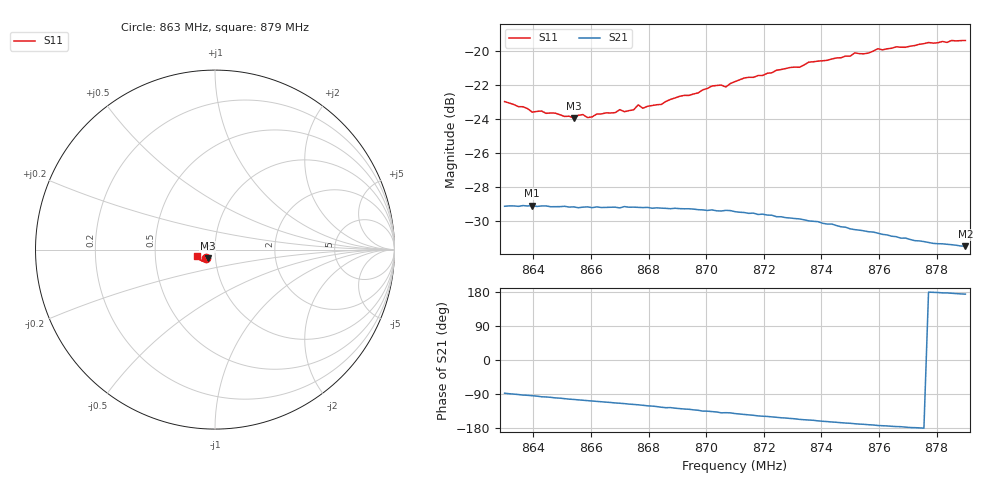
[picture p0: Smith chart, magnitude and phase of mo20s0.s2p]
# HZ S RI R 50
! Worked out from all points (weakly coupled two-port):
!   101 points, 863 MHz to 879 MHz, reference 50 ohm
!   highest |S21| = -29.08 dB at 863.96 MHz (marker M1); lowest = -31.5 dB at 879 MHz (marker M2)
!   lowest |S11| = -23.9 dB at 865.4 MHz (marker M3), VSWR 1.14, Z = 45.9 - j4.53 ohm
!   |S11| at or under -10 dB: start of sweep to end of sweep
!   S12 and S22 are empty: the file has one direction only
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8.63e8  -0.0512 -0.0494  0.00143 -0.0349  0 0  0 0
8.6396e8  -0.0454 -0.0482  -0.00262 -0.0351  0 0  0 0
8.6428e8  -0.0449 -0.0494  -0.0043 -0.0348  0 0  0 0
8.654e8  -0.0405 -0.0491  -0.0085 -0.0338  0 0  0 0
8.6572e8  -0.0395 -0.0518  -0.00968 -0.0334  0 0  0 0
8.6588e8  -0.0395 -0.0502  -0.0103 -0.0333  0 0  0 0
8.67e8  -0.039 -0.0549  -0.0141 -0.0316  0 0  0 0
8.6716e8  -0.0378 -0.0546  -0.0148 -0.0316  0 0  0 0
8.6748e8  -0.0377 -0.0557  -0.0159 -0.0309  0 0  0 0
8.6764e8  -0.0403 -0.0567  -0.0164 -0.0306  0 0  0 0
8.678e8  -0.0391 -0.0556  -0.0171 -0.0302  0 0  0 0
8.6844e8  -0.0388 -0.058  -0.0196 -0.0284  0 0  0 0
8.702e8  -0.0463 -0.0641  -0.0246 -0.0236  0 0  0 0
8.7068e8  -0.0468 -0.0631  -0.0257 -0.0223  0 0  0 0
8.71e8  -0.0495 -0.0648  -0.0263 -0.0211  0 0  0 0
8.7244e8  -0.0583 -0.0659  -0.0285 -0.0157  0 0  0 0
8.7324e8  -0.0628 -0.0642  -0.0295 -0.0127  0 0  0 0
8.7372e8  -0.0663 -0.0656  -0.0295 -0.0113  0 0  0 0
8.7564e8  -0.0798 -0.0584  -0.029 -0.0047  0 0  0 0
8.7596e8  -0.084 -0.0576  -0.0289 -0.00364  0 0  0 0
8.7644e8  -0.0866 -0.0543  -0.0284 -0.00249  0 0  0 0
8.79e8  -0.1022 -0.0341  -0.0265 0.00288  0 0  0 0
